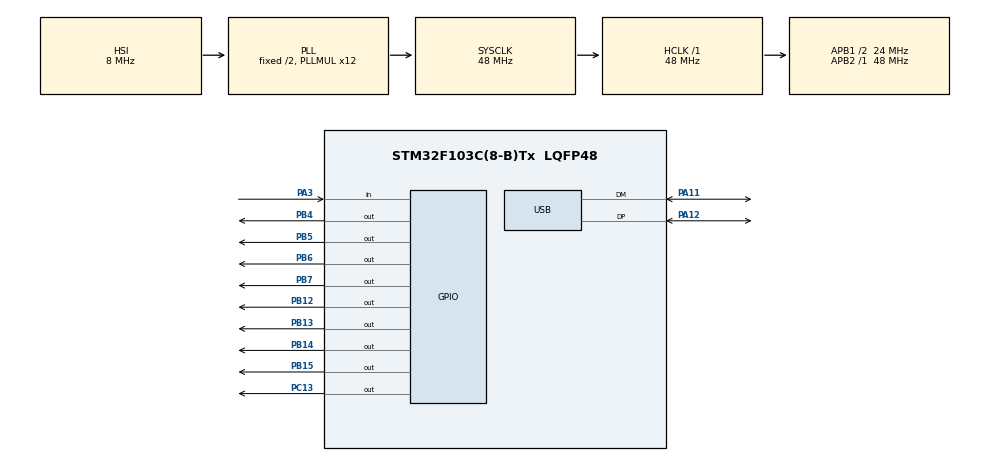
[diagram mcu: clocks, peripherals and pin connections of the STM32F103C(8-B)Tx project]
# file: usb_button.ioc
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FREERTOS.Tasks01=defaultTask,0,128,StartDefaultTask,Default,NULL,Dynamic,NULL,NULL;myTask02,0,128,lightsTask,Default,NULL,Dynamic,NULL,NULL
Mcu.Family=STM32F1
Mcu.Name=STM32F103C(8-B)Tx
Mcu.Package=LQFP48
NVIC.PriorityGroup=NVIC_PRIORITYGROUP_4
NVIC.USB_LP_CAN1_RX0_IRQn=true\:5\:0\:false\:false\:true\:true
PA11.Mode=Device
PA11.Signal=USB_DM
PA12.Mode=Device
PA12.Signal=USB_DP
PA13.Mode=JTAG_4_pins
PA13.Signal=SYS_JTMS-SWDIO
PA14.Mode=JTAG_4_pins
PA14.Signal=SYS_JTCK-SWCLK
PA15.Mode=JTAG_4_pins
PA15.Signal=SYS_JTDI
PA3.GPIO_PuPd=GPIO_PULLUP
PA3.Signal=GPIO_Input
PB12.Signal=GPIO_Output
PB13.Signal=GPIO_Output
PB14.Signal=GPIO_Output
PB15.Signal=GPIO_Output
PB3.Mode=JTAG_4_pins
PB3.Signal=SYS_JTDO-TRACESWO
PB4.Signal=GPIO_Output
PB5.Signal=GPIO_Output
PB6.Signal=GPIO_Output
PB7.Signal=GPIO_Output
PC13-TAMPER-RTC.GPIO_Speed=GPIO_SPEED_FREQ_MEDIUM
PC13-TAMPER-RTC.Signal=GPIO_Output
ProjectManager.HeapSize=0x200
ProjectManager.StackSize=0x400
ProjectManager.TargetToolchain=MDK-ARM V5
RCC.AHBFreq_Value=48000000
RCC.APB1CLKDivider=RCC_HCLK_DIV2
RCC.APB1Freq_Value=24000000
RCC.APB1TimFreq_Value=48000000
RCC.APB2Freq_Value=48000000
RCC.APB2TimFreq_Value=48000000
RCC.HCLKFreq_Value=48000000
RCC.PLLMUL=RCC_PLL_MUL12
RCC.PLLSource=RCC_PLLSOURCE_HSI_DIV2
RCC.PLLSourceVirtual=RCC_PLLSOURCE_HSI_DIV2
RCC.SYSCLKFreq_VALUE=48000000
RCC.SYSCLKSource=RCC_SYSCLKSOURCE_PLLCLK
RCC.USBFreq_Value=48000000
USB_DEVICE.CLASS_NAME_FS=CDC
USB_DEVICE.MANUFACTURER_STRING=BUTTON
USB_DEVICE.USBD_SUPPORT_USER_STRING=1
USB_DEVICE.VirtualMode=Cdc
USB_DEVICE.VirtualModeFS=Cdc_FS
VP_FREERTOS_VS_ENABLE.Mode=Enabled
VP_TIM1_VS_ClockSourceINT.Mode=Internal
VP_USB_DEVICE_VS_USB_DEVICE_CDC_FS.Mode=CDC_FS
board=usb_button

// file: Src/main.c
/**
  ******************************************************************************
  * File Name          : main.c
  * Description        : Main program body
  ******************************************************************************
  * This notice applies to any and all portions of this file
  * that are not between comment pairs USER CODE BEGIN and
  * USER CODE END. Other portions of this file, whether
  * inserted by the user or by software development tools
  * are owned by their respective copyright owners.
  *
  * Copyright (c) 2019 STMicroelectronics International N.V.
  * All rights reserved.
  *
  * Redistribution and use in source and binary forms, with or without
  * modification, are permitted, provided that the following conditions are met:
  *
  * 1. Redistribution of source code must retain the above copyright notice,
  *    this list of conditions and the following disclaimer.
  * 2. Redistributions in binary form must reproduce the above copyright notice,
  *    this list of conditions and the following disclaimer in the documentation
  *    and/or other materials provided with the distribution.
  * 3. Neither the name of STMicroelectronics nor the names of other
  *    contributors to this software may be used to endorse or promote products
  *    derived from this software without specific written permission.
  * 4. This software, including modifications and/or derivative works of this
  *    software, must execute solely and exclusively on microcontroller or
  *    microprocessor devices manufactured by or for STMicroelectronics.
  * 5. Redistribution and use of this software other than as permitted under
  *    this license is void and will automatically terminate your rights under
  *    this license.
  *
  * THIS SOFTWARE IS PROVIDED BY STMICROELECTRONICS AND CONTRIBUTORS "AS IS"
  * AND ANY EXPRESS, IMPLIED OR STATUTORY WARRANTIES, INCLUDING, BUT NOT
  * LIMITED TO, THE IMPLIED WARRANTIES OF MERCHANTABILITY, FITNESS FOR A
  * PARTICULAR PURPOSE AND NON-INFRINGEMENT OF THIRD PARTY INTELLECTUAL PROPERTY
  * RIGHTS ARE DISCLAIMED TO THE FULLEST EXTENT PERMITTED BY LAW. IN NO EVENT
  * SHALL STMICROELECTRONICS OR CONTRIBUTORS BE LIABLE FOR ANY DIRECT, INDIRECT,
  * INCIDENTAL, SPECIAL, EXEMPLARY, OR CONSEQUENTIAL DAMAGES (INCLUDING, BUT NOT
  * LIMITED TO, PROCUREMENT OF SUBSTITUTE GOODS OR SERVICES; LOSS OF USE, DATA,
  * OR PROFITS; OR BUSINESS INTERRUPTION) HOWEVER CAUSED AND ON ANY THEORY OF
  * LIABILITY, WHETHER IN CONTRACT, STRICT LIABILITY, OR TORT (INCLUDING
  * NEGLIGENCE OR OTHERWISE) ARISING IN ANY WAY OUT OF THE USE OF THIS SOFTWARE,
  * EVEN IF ADVISED OF THE POSSIBILITY OF SUCH DAMAGE.
  *
  ******************************************************************************
  */
#include "main.h"
#include "stm32f1xx_hal.h"
#include "cmsis_os.h"
#include "tim.h"
#include "usb_device.h"
#include "gpio.h"

/* USER CODE BEGIN PV */
/* Private variables ---------------------------------------------------------*/

/* USER CODE END PV */

void SystemClock_Config(void);
void MX_FREERTOS_Init(void);

/* USER CODE BEGIN PFP */
/* Private function prototypes -----------------------------------------------*/

/* USER CODE END PFP */

int main(void)
{

  /* MCU Configuration----------------------------------------------------------*/

  /* Reset of all peripherals, Initializes the Flash interface and the Systick. */
  HAL_Init();

  /* Configure the system clock */
  SystemClock_Config();

  /* Initialize all configured peripherals */
  MX_GPIO_Init();
  MX_TIM1_Init();

  /* Call init function for freertos objects (in freertos.c) */
  MX_FREERTOS_Init();

  /* Start scheduler */
  osKernelStart();

  /* We should never get here as control is now taken by the scheduler */

  /* Infinite loop */
  while (1)
  {

  }

}

/** System Clock Configuration
*/
void SystemClock_Config(void)
{

  RCC_OscInitTypeDef RCC_OscInitStruct;
  RCC_ClkInitTypeDef RCC_ClkInitStruct;
  RCC_PeriphCLKInitTypeDef PeriphClkInit;

    /**Initializes the CPU, AHB and APB busses clocks
    */
  RCC_OscInitStruct.OscillatorType = RCC_OSCILLATORTYPE_HSI;
  RCC_OscInitStruct.HSIState = RCC_HSI_ON;
  RCC_OscInitStruct.HSICalibrationValue = 16;
  RCC_OscInitStruct.PLL.PLLState = RCC_PLL_ON;
  RCC_OscInitStruct.PLL.PLLSource = RCC_PLLSOURCE_HSI_DIV2;
  RCC_OscInitStruct.PLL.PLLMUL = RCC_PLL_MUL12;
  if (HAL_RCC_OscConfig(&RCC_OscInitStruct) != HAL_OK)
  {
    _Error_Handler(__FILE__, __LINE__);
  }

    /**Initializes the CPU, AHB and APB busses clocks
    */
  RCC_ClkInitStruct.ClockType = RCC_CLOCKTYPE_HCLK|RCC_CLOCKTYPE_SYSCLK
                              |RCC_CLOCKTYPE_PCLK1|RCC_CLOCKTYPE_PCLK2;
  RCC_ClkInitStruct.SYSCLKSource = RCC_SYSCLKSOURCE_PLLCLK;
  RCC_ClkInitStruct.AHBCLKDivider = RCC_SYSCLK_DIV1;
  RCC_ClkInitStruct.APB1CLKDivider = RCC_HCLK_DIV2;
  RCC_ClkInitStruct.APB2CLKDivider = RCC_HCLK_DIV1;

  if (HAL_RCC_ClockConfig(&RCC_ClkInitStruct, FLASH_LATENCY_1) != HAL_OK)
  {
    _Error_Handler(__FILE__, __LINE__);
  }

  PeriphClkInit.PeriphClockSelection = RCC_PERIPHCLK_USB;
  PeriphClkInit.UsbClockSelection = RCC_USBCLKSOURCE_PLL;
  if (HAL_RCCEx_PeriphCLKConfig(&PeriphClkInit) != HAL_OK)
  {
    _Error_Handler(__FILE__, __LINE__);
  }

    /**Configure the Systick interrupt time
    */
  HAL_SYSTICK_Config(HAL_RCC_GetHCLKFreq()/1000);

    /**Configure the Systick
    */
  HAL_SYSTICK_CLKSourceConfig(SYSTICK_CLKSOURCE_HCLK);

  /* SysTick_IRQn interrupt configuration */
  HAL_NVIC_SetPriority(SysTick_IRQn, 15, 0);
}

void _Error_Handler(char * file, int line)
{
  while(1)
  {
  }
}

/************************ (C) COPYRIGHT STMicroelectronics *****END OF FILE****/

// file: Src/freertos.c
/**
  ******************************************************************************
  * File Name          : freertos.c
  * Description        : Code for freertos applications
  ******************************************************************************
  * This notice applies to any and all portions of this file
  * that are not between comment pairs USER CODE BEGIN and
  * USER CODE END. Other portions of this file, whether
  * inserted by the user or by software development tools
  * are owned by their respective copyright owners.
  *
  * Copyright (c) 2019 STMicroelectronics International N.V.
  * All rights reserved.
  *
  * Redistribution and use in source and binary forms, with or without
  * modification, are permitted, provided that the following conditions are met:
  *
  * 1. Redistribution of source code must retain the above copyright notice,
  *    this list of conditions and the following disclaimer.
  * 2. Redistributions in binary form must reproduce the above copyright notice,
  *    this list of conditions and the following disclaimer in the documentation
  *    and/or other materials provided with the distribution.
  * 3. Neither the name of STMicroelectronics nor the names of other
  *    contributors to this software may be used to endorse or promote products
  *    derived from this software without specific written permission.
  * 4. This software, including modifications and/or derivative works of this
  *    software, must execute solely and exclusively on microcontroller or
  *    microprocessor devices manufactured by or for STMicroelectronics.
  * 5. Redistribution and use of this software other than as permitted under
  *    this license is void and will automatically terminate your rights under
  *    this license.
  *
  * THIS SOFTWARE IS PROVIDED BY STMICROELECTRONICS AND CONTRIBUTORS "AS IS"
  * AND ANY EXPRESS, IMPLIED OR STATUTORY WARRANTIES, INCLUDING, BUT NOT
  * LIMITED TO, THE IMPLIED WARRANTIES OF MERCHANTABILITY, FITNESS FOR A
  * PARTICULAR PURPOSE AND NON-INFRINGEMENT OF THIRD PARTY INTELLECTUAL PROPERTY
  * RIGHTS ARE DISCLAIMED TO THE FULLEST EXTENT PERMITTED BY LAW. IN NO EVENT
  * SHALL STMICROELECTRONICS OR CONTRIBUTORS BE LIABLE FOR ANY DIRECT, INDIRECT,
  * INCIDENTAL, SPECIAL, EXEMPLARY, OR CONSEQUENTIAL DAMAGES (INCLUDING, BUT NOT
  * LIMITED TO, PROCUREMENT OF SUBSTITUTE GOODS OR SERVICES; LOSS OF USE, DATA,
  * OR PROFITS; OR BUSINESS INTERRUPTION) HOWEVER CAUSED AND ON ANY THEORY OF
  * LIABILITY, WHETHER IN CONTRACT, STRICT LIABILITY, OR TORT (INCLUDING
  * NEGLIGENCE OR OTHERWISE) ARISING IN ANY WAY OUT OF THE USE OF THIS SOFTWARE,
  * EVEN IF ADVISED OF THE POSSIBILITY OF SUCH DAMAGE.
  *
  ******************************************************************************
  */

#include "FreeRTOS.h"
#include "task.h"
#include "cmsis_os.h"

/* USER CODE BEGIN Includes */
#include "gpio.h"
#include "usbd_cdc_if.h"
/* USER CODE END Includes */

osThreadId defaultTaskHandle;
osThreadId myTask02Handle;

/* USER CODE BEGIN Variables */
char str_rx[21];
/* USER CODE END Variables */

void StartDefaultTask(void const * argument);
void lightsTask(void const * argument);

extern void MX_USB_DEVICE_Init(void);
void MX_FREERTOS_Init(void); /* (MISRA C 2004 rule 8.1) */

/* Hook prototypes */

/* Init FreeRTOS */

void MX_FREERTOS_Init(void) {

  /* Create the thread(s) */
  /* definition and creation of defaultTask */
  osThreadDef(defaultTask, StartDefaultTask, osPriorityNormal, 0, 128);
  defaultTaskHandle = osThreadCreate(osThread(defaultTask), NULL);

  /* definition and creation of myTask02 */
  osThreadDef(myTask02, lightsTask, osPriorityNormal, 0, 128);
  myTask02Handle = osThreadCreate(osThread(myTask02), NULL);

}

/* StartDefaultTask function */
void StartDefaultTask(void const * argument)
{
  /* init code for USB_DEVICE */
  MX_USB_DEVICE_Init();

  /* USER CODE BEGIN StartDefaultTask */

	uint8_t str_tx_0[8];
	sprintf(str_tx_0,"OK ");

	uint8_t str_tx_1[8];
	sprintf(str_tx_1,"WR");

	volatile uint16_t button_counter = 0;

  /* Infinite loop */
  for(;;)
  {
//		if ( !(HAL_GPIO_ReadPin(GPIOA, GPIO_PIN_3)) )
//		{
//			HAL_GPIO_WritePin(GPIOC, GPIO_PIN_13, GPIO_PIN_RESET);
//
//			if(button_counter == 0)
//			{
//				CDC_Transmit_FS((uint8_t*)str_tx_1, strlen(str_tx_1));
//				xTaskNotify( myTask02Handle, 0, eNoAction );
//			}
//
//			button_counter++;
//		}
//		else
//		{
//			HAL_GPIO_WritePin(GPIOC, GPIO_PIN_13, GPIO_PIN_SET);
//			//CDC_Transmit_FS((uint8_t*)str_tx_0, strlen(str_tx_0));
//			button_counter = 0;
//
//		}

		if (str_rx[0] == 0x73 || str_rx[0] == 0x53) //'s' or 'S'
		{
			osDelay(150);

			HAL_GPIO_WritePin(GPIOB, GPIO_PIN_12, GPIO_PIN_SET);
			HAL_GPIO_WritePin(GPIOB, GPIO_PIN_14, GPIO_PIN_SET);
			HAL_GPIO_WritePin(GPIOC, GPIO_PIN_13, GPIO_PIN_RESET);
			osDelay(850);
			HAL_GPIO_WritePin(GPIOB, GPIO_PIN_12, GPIO_PIN_RESET);
			HAL_GPIO_WritePin(GPIOB, GPIO_PIN_14, GPIO_PIN_RESET);
			HAL_GPIO_WritePin(GPIOC, GPIO_PIN_13, GPIO_PIN_SET);

			str_rx[0] = 0x00;
			CDC_Transmit_FS((uint8_t*)str_tx_0, strlen(str_tx_0));
		}

		if (str_rx[0] == 0x49 || str_rx[0] == 0x69) //'i' or 'I'
		{
			osDelay(150);

			HAL_GPIO_WritePin(GPIOB, GPIO_PIN_12, GPIO_PIN_SET);
			HAL_GPIO_WritePin(GPIOB, GPIO_PIN_14, GPIO_PIN_SET);
			HAL_GPIO_WritePin(GPIOC, GPIO_PIN_13, GPIO_PIN_RESET);
			osDelay(3800);
			HAL_GPIO_WritePin(GPIOB, GPIO_PIN_12, GPIO_PIN_RESET);
			HAL_GPIO_WritePin(GPIOB, GPIO_PIN_14, GPIO_PIN_RESET);
			HAL_GPIO_WritePin(GPIOC, GPIO_PIN_13, GPIO_PIN_SET);

			str_rx[0] = 0x00;
			CDC_Transmit_FS((uint8_t*)str_tx_0, strlen(str_tx_0));
		}

   osDelay(10);
  }
  /* USER CODE END StartDefaultTask */
}

/* lightsTask function */
void lightsTask(void const * argument)
{
  /* USER CODE BEGIN lightsTask */
  /* Infinite loop */
  for(;;)
  {
		ulTaskNotifyTake( pdTRUE, portMAX_DELAY );

		HAL_GPIO_WritePin(GPIOB, GPIO_PIN_12|GPIO_PIN_13|GPIO_PIN_14|GPIO_PIN_15|GPIO_PIN_4|GPIO_PIN_5|GPIO_PIN_6|GPIO_PIN_7, GPIO_PIN_SET);
    osDelay(5000);
		HAL_GPIO_WritePin(GPIOB, GPIO_PIN_12|GPIO_PIN_13|GPIO_PIN_14|GPIO_PIN_15|GPIO_PIN_4|GPIO_PIN_5|GPIO_PIN_6|GPIO_PIN_7, GPIO_PIN_RESET);
  }
  /* USER CODE END lightsTask */
}

/************************ (C) COPYRIGHT STMicroelectronics *****END OF FILE****/
